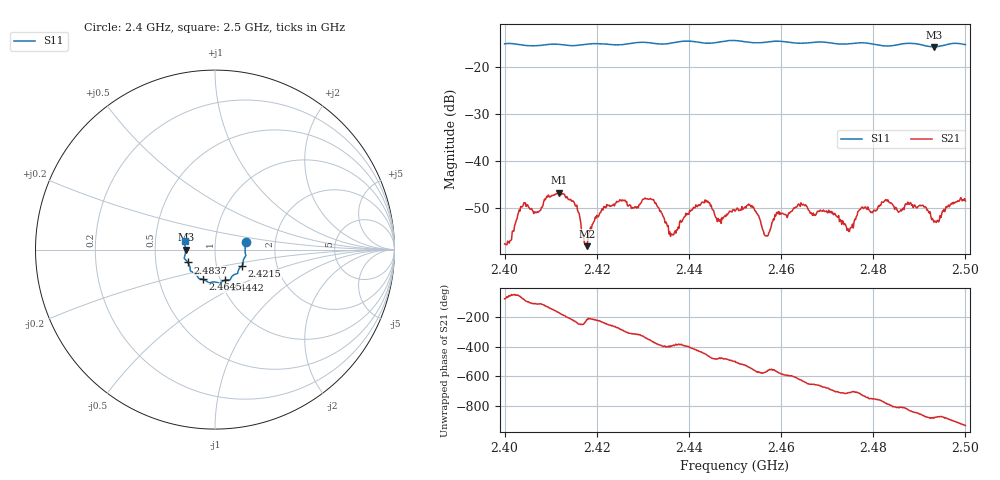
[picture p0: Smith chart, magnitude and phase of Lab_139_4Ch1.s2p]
# Hz S RI R 50
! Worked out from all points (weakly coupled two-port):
!   601 points, 2.4 GHz to 2.5 GHz, reference 50 ohm
!   highest |S21| = -46.74 dB at 2.4118 GHz (marker M1); lowest = -58.1 dB at 2.4178 GHz (marker M2)
!   lowest |S11| = -15.7 dB at 2.4932 GHz (marker M3), VSWR 1.39, Z = 35.9 - j0.0629 ohm
!   |S11| at or under -10 dB: start of sweep to end of sweep
!   S12 and S22 are empty: the file has one direction only
!   S11 on the Smith chart (normalised r, x): 2.4 GHz: 1.41, +0.12; 2.4215 GHz: 1.33, -0.25; 2.4442 GHz: 1.05, -0.37; 2.4645 GHz: 0.83, -0.29; 2.4837 GHz: 0.73, -0.11; 2.5 GHz: 0.71, +0.07
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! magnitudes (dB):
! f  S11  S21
! 2.4 GHz  -15.1  -57.6
! 2.404 GHz  -15.4  -49.5
! 2.4118 GHz  -15.2  -46.7
! 2.4152 GHz  -15.5  -49.0
! 2.4167 GHz  -15.3  -54.6
! 2.4178 GHz  -15.2  -58.1
! 2.4215 GHz  -15.1  -49.7
! 2.4333 GHz  -15.1  -49.9
! 2.4362 GHz  -14.9  -55.5
! 2.4442 GHz  -15.0  -48.6
! 2.4465 GHz  -14.7  -52.7
! 2.45 GHz  -14.4  -50.7
! 2.4535 GHz  -14.8  -49.8
! 2.4568 GHz  -14.7  -55.9
! 2.4645 GHz  -15.0  -49.3
! 2.4667 GHz  -14.8  -51.2
! 2.4748 GHz  -15.1  -55.0
! 2.4772 GHz  -14.9  -50.3
! 2.4833 GHz  -15.6  -48.7
! 2.4837 GHz  -15.5  -49.0
! 2.4932 GHz  -15.7  -53.0
! 2.5 GHz  -15.3  -48.5
